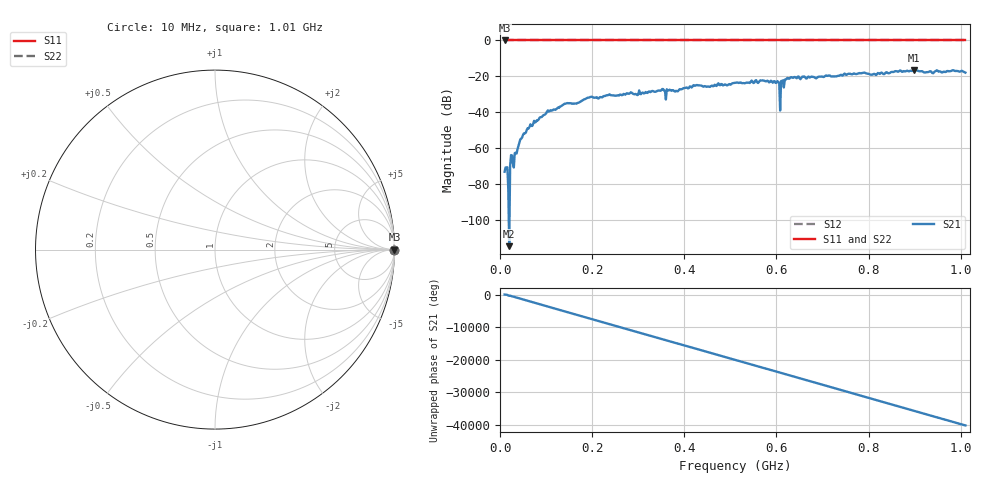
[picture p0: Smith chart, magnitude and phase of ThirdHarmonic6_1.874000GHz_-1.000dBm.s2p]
! 8/16/2025 10:39:02 PM
! C:\ANRITSUVNA\TEMP\TEMP.S2P
! CHANNEL.1
! TR.MEASUREMENT
! RAW.DATA
! RF.CORRECTION.OFF
! AVERAGING.OFF
! IF.BANDWIDTH: 5KHZ
! SWEEPTYPE:  FREQ.SWEEP(Linear)
! Reference Plane Port Info
! PORT:  PORT1  PORT2
! DISTANCE:  0  m  0  m
! TIME:  0  s  0  s
! PHASE.OFFSET:  0  deg.  0  deg.
! LOSS:  0  dB  0  dB
! REF.LOSS:  0  dB  0  dB
! REF.FREQ:  0  Hz  0  Hz
! Power Info
! POWER:  -20  dBm  -20  dBm
! EFF.POWER:  -20  dBm  -20  dBm
! SOURCE.ATTEN:  0  dB  0  dB
! TEST.ATTEN:  0  dB  0  dB
# GHZ S RI R 50.0
! FREQ.GHZ  S11RE  S11IM  S21RE  S21IM  S12RE  S12IM  S22RE  S22IM
!; PortSelection: Port_12
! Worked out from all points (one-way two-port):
!   501 points, 10 MHz to 1.01 GHz, reference 50 ohm
!   highest |S21| = -16.49 dB at 898 MHz (marker M1); lowest = -114.4 dB at 20 MHz (marker M2)
!   lowest |S11| = 0.0 dB at 10 MHz (marker M3)
!   |S11| at or under -10 dB: nowhere
!   |S22| runs from 0.0 to 0.0 dB; largest |S21 - S12| = 1.1
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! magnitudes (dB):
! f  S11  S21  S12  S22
! 10 MHz  0.0  -73.0  0.0  0.0
! 16 MHz  0.0  -70.5  0.0  0.0
! 20 MHz  0.0  -114.4  0.0  0.0
! 26 MHz  0.0  -64.0  0.0  0.0
! 32 MHz  0.0  -62.7  0.0  0.0
! 46 MHz  0.0  -54.6  0.0  0.0
! 62 MHz  0.0  -49.0  0.0  0.0
! 106 MHz  0.0  -39.6  0.0  0.0
! 178 MHz  0.0  -33.4  0.0  0.0
! 196 MHz  0.0  -31.4  0.0  0.0
! 344 MHz  0.0  -27.8  0.0  0.0
! 510 MHz  0.0  -23.6  0.0  0.0
! 592 MHz  0.0  -23.5  0.0  0.0
! 602 MHz  0.0  -22.6  0.0  0.0
! 604 MHz  0.0  -23.1  0.0  0.0
! 612 MHz  0.0  -22.5  0.0  0.0
! 614 MHz  0.0  -22.2  0.0  0.0
! 622 MHz  0.0  -21.2  0.0  0.0
! 678 MHz  0.0  -20.2  0.0  0.0
! 844 MHz  0.0  -18.3  0.0  0.0
! 898 MHz  0.0  -16.5  0.0  0.0
! 1.01 GHz  0.0  -17.9  0.0  0.0
